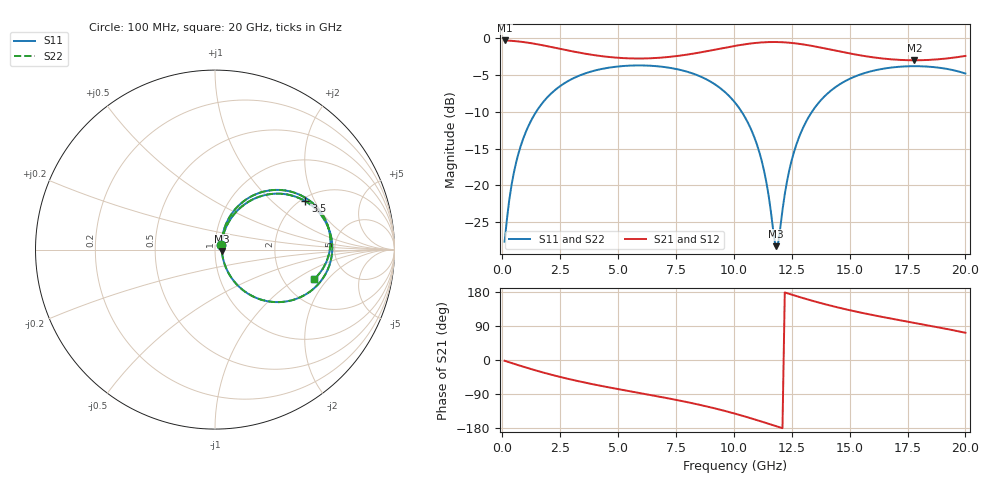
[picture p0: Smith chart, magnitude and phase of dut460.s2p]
! Touchstone file exported from HFSS 2026.1.0
!  File:  C:/ffzhzh/LocalFiles/Ansys_Project_Files/temp_train_TSV_RDL_460_1783101316_46604.aedt
!  Generated:  02:11:48 AM Jul  4, 2026
!  Design:  TSV_RDL
!  Project:  temp_train_TSV_RDL_460_1783101316_46604
! Variables:
!  h_bsmrdl = 2.76um
!  h_ox = 20um
!  h_rdl = 5um
!  h_sub = 88.6um
!  h_tmrdl = 4.49um
!  h_tsv = 88.6um
!  h_via = 3um
!  l_bsmrdl = 429.41um
!  l_sub = 4861.29um
!  l_tmrdl = 766.82um
!  m_sub = 200um
!  pitch = 51.61um
!  r_tsv = 3.66um
!  s_tmrdl = 10um
!  w_bsmrdl = 24.55um
!  w_sub = 500um
!  w_tmrdl = 10.71um
!  x_tsv_center1 = 772.175um
!  x_tsv_center2 = 1226.135um
!  x_tsv_center3 = 2003.665um
!  x_tsv_center4 = 2457.625um
!  x_tsv_center5 = 3235.155um
!  x_tsv_center6 = 3689.115um
# GHz S MA R 50.000000
! Terminal data exported
! Port[1] = TM_RDL1_1_T1
! Port[2] = TM_RDL5_1_T1
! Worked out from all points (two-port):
!   200 points, 100 MHz to 20 GHz, reference 50 ohm
!   highest |S21| = -0.30 dB at 100 MHz (marker M1); lowest = -3.0 dB at 17.8 GHz (marker M2)
!   |S21| within 3 dB of the highest: start of sweep to end of sweep
!   lowest |S11| = -28.3 dB at 11.8 GHz (marker M3), VSWR 1.08, Z = 53.9 - j0.806 ohm
!   |S11| at or under -10 dB: start of sweep to 1.464 GHz; 10.34 GHz to 13.37 GHz (3.036 GHz wide, 25.6 % of centre)
!   |S22| runs from -28.3 to -3.7 dB; largest |S21 - S12| = 1.7e-14
!   S11 on the Smith chart (normalised r, x): 100 MHz: 1.07, +0.05; 3.5 GHz: 2.11, +1.69; 20 GHz: 2.92, -1.45
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0.1  0.0414 33.6  0.9661 -2.0  0.9661 -2.0  0.0414 33.6
! Gamma 0 0 0 0
! Port Impedance 50 0 50 0
0.3  0.0793 58.1  0.9628 -6.0  0.9628 -6.0  0.0793 58.1
0.5  0.1222 63.2  0.9577 -9.9  0.9577 -9.9  0.1222 63.2
1.1  0.2475 60.3  0.9333 -21.3  0.9333 -21.3  0.2475 60.3
2.1  0.4198 46.8  0.8731 -38.5  0.8731 -38.5  0.4198 46.8
3.5  0.571 28.2  0.7892 -58.7  0.7892 -58.7  0.571 28.2
5.1  0.6452 10.0  0.7349 -77.9  0.7349 -77.9  0.6452 10.0
6.8  0.6429 -8.1  0.7371 -96.9  0.7371 -96.9  0.6429 -8.1
8.7  0.5367 -30.2  0.8091 -120.7  0.8091 -120.7  0.5367 -30.3
10.1  0.3572 -49.2  0.8902 -142.4  0.8902 -142.4  0.3572 -49.2
11.1  0.1683 -60.0  0.934 -160.6  0.934 -160.6  0.1683 -60.0
11.4  0.106 -57.7  0.9405 -166.3  0.9405 -166.3  0.1059 -57.8
11.8  0.03862 -11.1  0.9428 -174.1  0.9428 -174.1  0.03843 -11.3
11.9  0.03919 20.4  0.9422 -176.0  0.9422 -176.0  0.03898 20.5
12.2  0.0872 61.4  0.9377 178.2  0.9377 178.2  0.08709 61.5
12.5  0.1486 66.6  0.9292 172.5  0.9292 172.5  0.1485 66.7
12.9  0.2291 64.6  0.9126 165.0  0.9126 165.0  0.229 64.7
13.4  0.321 58.7  0.8857 156.1  0.8857 156.1  0.3209 58.8
14.8  0.5105 40.2  0.8 134.2  0.8 134.2  0.5105 40.2
16.7  0.6293 18.3  0.7213 110.3  0.7213 110.3  0.6293 18.3
17.8  0.6459 6.9  0.7085 97.9  0.7085 97.9  0.6459 6.9
20  0.5756 -16.8  0.7582 71.9  0.7582 71.9  0.5757 -16.7
